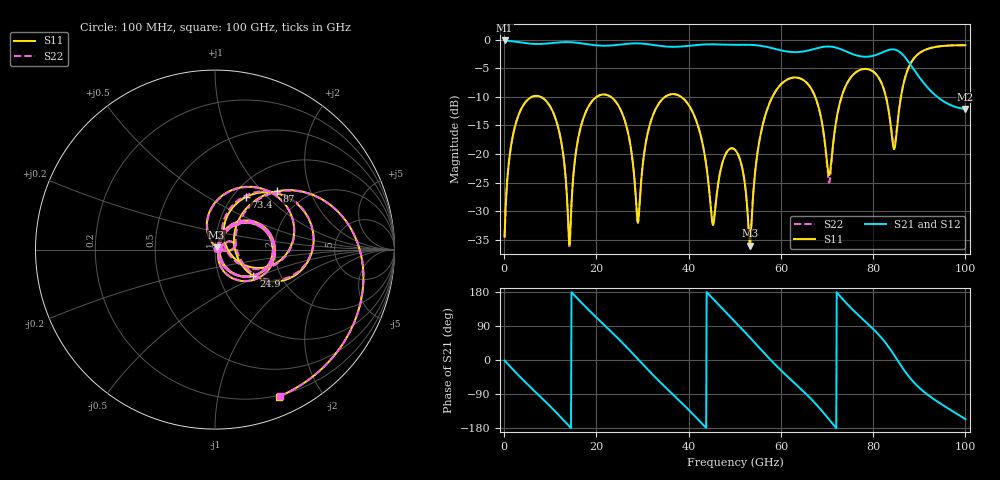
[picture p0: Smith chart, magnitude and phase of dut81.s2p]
! Touchstone file exported from HFSS 2026.1.0
!  File:  C:/ffzhzh/LocalFiles/Ansys_Project_Files/temp_train_TSV_RDL_81_1783629406_26216.aedt
!  Generated:  04:44:27 AM Jul 10, 2026
!  Design:  TSV_RDL
!  Project:  temp_train_TSV_RDL_81_1783629406_26216
! Variables:
!  h_bsmrdl = 2.76um
!  h_ox = 20um
!  h_rdl = 5um
!  h_sub = 73.35um
!  h_tmrdl = 3.87um
!  h_tsv = 73.35um
!  h_via = 3um
!  l_bsmrdl = 345.04um
!  l_sub = 4158.35um
!  l_tmrdl = 644.29um
!  m_sub = 200um
!  pitch = 42.14um
!  r_tsv = 12.07um
!  s_tmrdl = 10um
!  w_bsmrdl = 20.48um
!  w_sub = 500um
!  w_tmrdl = 28.21um
!  x_tsv_center1 = 658.395um
!  x_tsv_center2 = 1023.915um
!  x_tsv_center3 = 1696.415um
!  x_tsv_center4 = 2061.935um
!  x_tsv_center5 = 2734.435um
!  x_tsv_center6 = 3099.955um
# GHz S MA R 50.000000
! Terminal data exported
! Port[1] = TM_RDL1_1_T1
! Port[2] = TM_RDL5_1_T1
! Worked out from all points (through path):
!   1000 points, 100 MHz to 100 GHz, reference 50 ohm
!   highest |S21| = -0.14 dB at 100 MHz (marker M1); lowest = -12.1 dB at 100 GHz (marker M2)
!   group delay of S21, straight-line fit = 35.1 ps
!   lowest |S11| = -36.1 dB at 53.3 GHz (marker M3), VSWR 1.03, Z = 50.9 + j1.33 ohm
!   |S11| at or under -10 dB: 7.91 GHz to 20.06 GHz (12.15 GHz wide, 86.9 % of centre); 23.11 GHz to 34.9 GHz (11.79 GHz wide, 40.6 % of centre); 38.36 GHz to 58.17 GHz (19.8 GHz wide, 41 % of centre) (the widest 3 of 6)
!   |S22| runs from -36.1 to -1.0 dB; largest |S21 - S12| = 1.9e-13
!   S11 on the Smith chart (normalised r, x): 100 MHz: 1.03, +0.02; 24.9 GHz: 1.46, -0.46; 73.4 GHz: 1.14, +0.76; 87 GHz: 1.45, +1.22; 100 GHz: 0.19, -1.51
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0.1  0.01889 29.5  0.9838 -1.4  0.9838 -1.4  0.01889 29.5
! Gamma 0 0 0 0
! Port Impedance 50 0 50 0
2.7  0.1954 47.7  0.9559 -35.2  0.9559 -35.2  0.1954 47.7
8.1  0.3135 -12.7  0.9176 -99.8  0.9176 -99.8  0.3135 -12.7
12  0.1526 -55.7  0.9464 -147.5  0.9464 -147.5  0.1526 -55.8
14.1  0.01611 -11.3  0.9511 -174.7  0.9511 -174.7  0.01566 -11.7
16.8  0.1837 53.8  0.928 150.7  0.928 150.7  0.1836 54.0
24.9  0.2594 -34.3  0.9031 54.5  0.9031 54.5  0.2593 -34.2
29  0.02498 0.9  0.9273 2.4  0.9273 2.4  0.0251 1.2
33.4  0.2707 31.5  0.8862 -53.3  0.8862 -53.3  0.2707 31.7
38.2  0.3194 -20.1  0.8694 -109.8  0.8694 -109.8  0.3194 -19.8
43  0.1239 -69.1  0.9058 -169.1  0.9058 -169.1  0.1241 -68.3
45.3  0.02393 -14.5  0.9102 161.3  0.9102 161.3  0.0253 -14.3
50.1  0.1082 7.6  0.9009 100.4  0.9009 100.4  0.1083 7.8
53.3  0.01575 55.8  0.9006 59.1  0.9006 59.1  0.01739 55.9
57.8  0.2943 84.1  0.8481 -0.0  0.8481 -0.0  0.2948 83.5
66.7  0.3651 -9.9  0.8181 -104.8  0.8181 -104.8  0.3646 -10.9
70.4  0.06563 15.6  0.871 -156.2  0.871 -156.2  0.05651 14.4
73.4  0.3383 59.7  0.8121 160.5  0.8121 160.5  0.3367 61.4
83.4  0.233 -34.3  0.813 33.7  0.813 33.7  0.2368 -31.9
87  0.4756 43.2  0.6943 -31.8  0.6943 -31.8  0.4777 42.5
92.2  0.8392 -9.9  0.3663 -95.1  0.3663 -95.1  0.8397 -9.8
100  0.8929 -66.5  0.2476 -156.0  0.2476 -156.0  0.8932 -66.2
